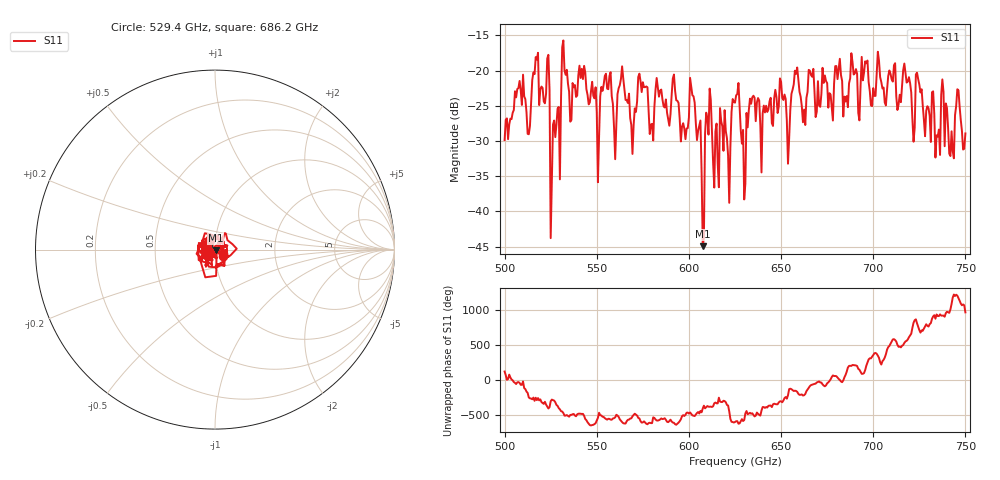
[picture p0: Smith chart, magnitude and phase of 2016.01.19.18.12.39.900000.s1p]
!Created with skrf (http://scikit-rf.org).
# GHz S RI R 50.0
!freq ReS11 ImS11
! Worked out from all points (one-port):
!   401 points, 500 GHz to 750 GHz, reference 50 ohm
!   lowest |S11| = -44.9 dB at 607.5 GHz (marker M1), VSWR 1.01, Z = 50.4 - j0.405 ohm
!   |S11| at or under -10 dB: start of sweep to end of sweep
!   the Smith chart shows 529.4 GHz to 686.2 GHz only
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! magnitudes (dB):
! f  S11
! 500 GHz  -29.9
! 508.8 GHz  -22.8
! 513.1 GHz  -29.0
! 516.9 GHz  -18.1
! 523.1 GHz  -18.3
! 526.2 GHz  -27.7
! 531.2 GHz  -16.7
! 541.9 GHz  -19.8
! 550 GHz  -26.0
! 556.2 GHz  -22.6
! 559.4 GHz  -28.1
! 562.5 GHz  -22.1
! 569.4 GHz  -31.8
! 573.8 GHz  -21.5
! 579.4 GHz  -27.7
! 593.8 GHz  -24.3
! 601.9 GHz  -23.5
! 607.5 GHz  -44.9
! 610.6 GHz  -29.1
! 621.2 GHz  -32.1
! 625 GHz  -24.6
! 629.4 GHz  -28.4
! 634.4 GHz  -23.8
! 653.8 GHz  -33.2
! 656.2 GHz  -22.7
! 687.5 GHz  -21.1
! 718.8 GHz  -21.6
! 750 GHz  -28.9
